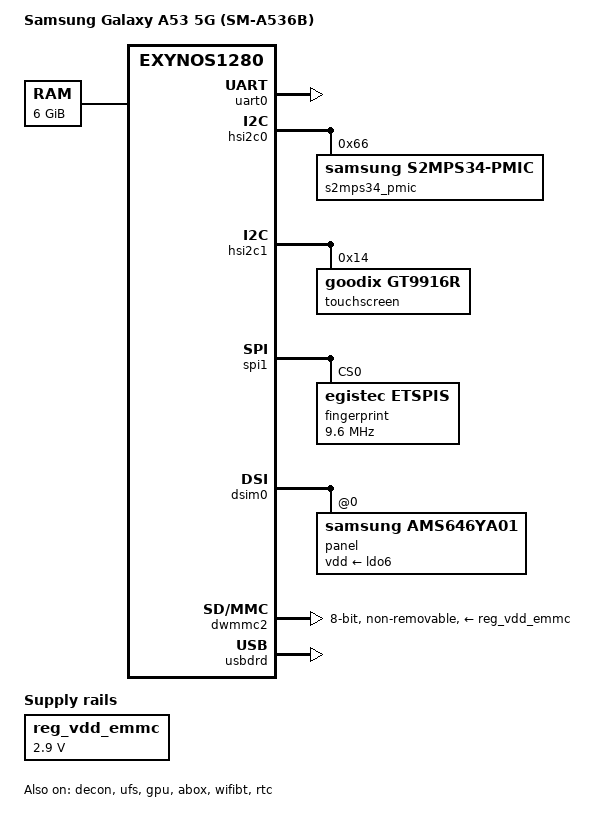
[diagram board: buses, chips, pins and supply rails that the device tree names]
// SPDX-License-Identifier: GPL-2.0
/*
 * Samsung Galaxy A53 5G (SM-A536B) Device Tree
 *
 * Board-level peripherals: PMIC (S2MPS34), touchscreen, display panel,
 * fingerprint, UFS storage, USB. Base SoC nodes come from exynos1280.dtsi
 * (transcribed from Samsung firmware A536BXXSMGZE1).
 */

/dts-v1/;

#include "exynos1280.dtsi"
#include <dt-bindings/gpio/gpio.h>
#include <dt-bindings/interrupt-controller/irq.h>

/ {
	model = "Samsung Galaxy A53 5G (SM-A536B)";
	compatible = "samsung,a53x", "samsung,exynos1280";

	chosen {
		bootargs = "androidboot.hardware=exynos1280 clk_ignore_unused firmware_class.path=/vendor/firmware loop.max_part=7";
	};

	memory@80000000 {
		device_type = "memory";
		reg = <0x0 0x80000000 0x1 0x80000000>; /* 6 GB */
	};

	/* â”€â”€ Fixed regulators â”€â”€â”€â”€â”€â”€â”€â”€â”€â”€â”€â”€â”€â”€â”€â”€â”€â”€â”€â”€â”€â”€â”€â”€â”€â”€â”€â”€â”€â”€â”€â”€â”€â”€â”€â”€â”€â”€â”€â”€â”€â”€â”€ */

	reg_vdd_emmc: regulator-vdd-emmc {
		compatible = "regulator-fixed";
		regulator-name = "vdd_emmc";
		regulator-min-microvolt = <2900000>;
		regulator-max-microvolt = <2900000>;
		regulator-always-on;
	};
};

/* â”€â”€ UART0: debug console â”€â”€â”€â”€â”€â”€â”€â”€â”€â”€â”€â”€â”€â”€â”€â”€â”€â”€â”€â”€â”€â”€â”€â”€â”€â”€â”€â”€â”€â”€â”€â”€â”€â”€â”€â”€â”€â”€â”€â”€â”€â”€â”€â”€â”€â”€ */

&uart0 {
	status = "okay";
};

/* â”€â”€ HSI2C0: PMIC (S2MPS34) â”€â”€â”€â”€â”€â”€â”€â”€â”€â”€â”€â”€â”€â”€â”€â”€â”€â”€â”€â”€â”€â”€â”€â”€â”€â”€â”€â”€â”€â”€â”€â”€â”€â”€â”€â”€â”€â”€â”€â”€â”€â”€â”€ */

&hsi2c0 {
	status = "okay";

	s2mps34_pmic: pmic@66 {
		compatible = "samsung,s2mps34-pmic";
		reg = <0x66>;
		#include "exynos1280-pmic-s2mps34.dtsi"
		/* Full regulator set (39 LDO + 9 BUCK) is provided by the
		 * included exynos1280-pmic-s2mps34.dtsi. */
	};
};

/* â”€â”€ HSI2C1: Touchscreen â”€â”€â”€â”€â”€â”€â”€â”€â”€â”€â”€â”€â”€â”€â”€â”€â”€â”€â”€â”€â”€â”€â”€â”€â”€â”€â”€â”€â”€â”€â”€â”€â”€â”€â”€â”€â”€â”€â”€â”€â”€â”€â”€â”€â”€â”€ */

&hsi2c1 {
	status = "okay";

	touchscreen@14 {
		compatible = "goodix,gt9916r";
		reg = <0x14>;
		/* GPIO/pinctrl wiring to be confirmed against board schematic. */
	};
};

/* â”€â”€ SPI1: Fingerprint â”€â”€â”€â”€â”€â”€â”€â”€â”€â”€â”€â”€â”€â”€â”€â”€â”€â”€â”€â”€â”€â”€â”€â”€â”€â”€â”€â”€â”€â”€â”€â”€â”€â”€â”€â”€â”€â”€â”€â”€â”€â”€â”€â”€â”€â”€â”€â”€ */

&spi1 {
	status = "okay";

	fingerprint@0 {
		compatible = "egistec,etspis";
		reg = <0>;
		spi-max-frequency = <9600000>;
	};
};

/* â”€â”€ Display â”€â”€â”€â”€â”€â”€â”€â”€â”€â”€â”€â”€â”€â”€â”€â”€â”€â”€â”€â”€â”€â”€â”€â”€â”€â”€â”€â”€â”€â”€â”€â”€â”€â”€â”€â”€â”€â”€â”€â”€â”€â”€â”€â”€â”€â”€â”€â”€â”€â”€â”€â”€â”€â”€â”€â”€â”€â”€â”€ */

&decon {
	status = "okay";
};

&dsim0 {
	status = "okay";

	panel@0 {
		compatible = "samsung,ams646ya01";
		reg = <0>;
		vdd-supply = <&ldo6>;
	};
};

/* â”€â”€ UFS (internal storage) â”€â”€â”€â”€â”€â”€â”€â”€â”€â”€â”€â”€â”€â”€â”€â”€â”€â”€â”€â”€â”€â”€â”€â”€â”€â”€â”€â”€â”€â”€â”€â”€â”€â”€â”€â”€â”€â”€â”€â”€â”€â”€â”€â”€ */

&ufs {
	status = "okay";
};

/* â”€â”€ eMMC (DWMMC2) â”€â”€â”€â”€â”€â”€â”€â”€â”€â”€â”€â”€â”€â”€â”€â”€â”€â”€â”€â”€â”€â”€â”€â”€â”€â”€â”€â”€â”€â”€â”€â”€â”€â”€â”€â”€â”€â”€â”€â”€â”€â”€â”€â”€â”€â”€â”€â”€â”€â”€â”€â”€ */

&dwmmc2 {
	status = "okay";
	bus-width = <8>;
	cap-mmc-highspeed;
	mmc-hs200-1_8v;
	mmc-hs400-1_8v;
	non-removable;
	vmmc-supply = <&reg_vdd_emmc>;
};

/* â”€â”€ USB â”€â”€â”€â”€â”€â”€â”€â”€â”€â”€â”€â”€â”€â”€â”€â”€â”€â”€â”€â”€â”€â”€â”€â”€â”€â”€â”€â”€â”€â”€â”€â”€â”€â”€â”€â”€â”€â”€â”€â”€â”€â”€â”€â”€â”€â”€â”€â”€â”€â”€â”€â”€â”€â”€â”€â”€â”€â”€â”€â”€â”€â”€â”€ */

&usbdrd {
	status = "okay";
};

/* â”€â”€ GPU â”€â”€â”€â”€â”€â”€â”€â”€â”€â”€â”€â”€â”€â”€â”€â”€â”€â”€â”€â”€â”€â”€â”€â”€â”€â”€â”€â”€â”€â”€â”€â”€â”€â”€â”€â”€â”€â”€â”€â”€â”€â”€â”€â”€â”€â”€â”€â”€â”€â”€â”€â”€â”€â”€â”€â”€â”€â”€â”€â”€â”€â”€â”€ */

&gpu {
	status = "okay";
};

/* â”€â”€ Audio â”€â”€â”€â”€â”€â”€â”€â”€â”€â”€â”€â”€â”€â”€â”€â”€â”€â”€â”€â”€â”€â”€â”€â”€â”€â”€â”€â”€â”€â”€â”€â”€â”€â”€â”€â”€â”€â”€â”€â”€â”€â”€â”€â”€â”€â”€â”€â”€â”€â”€â”€â”€â”€â”€â”€â”€â”€â”€â”€â”€â”€ */

&abox {
	status = "okay";
};

/* â”€â”€ WiFi/BT â”€â”€â”€â”€â”€â”€â”€â”€â”€â”€â”€â”€â”€â”€â”€â”€â”€â”€â”€â”€â”€â”€â”€â”€â”€â”€â”€â”€â”€â”€â”€â”€â”€â”€â”€â”€â”€â”€â”€â”€â”€â”€â”€â”€â”€â”€â”€â”€â”€â”€â”€â”€â”€â”€â”€â”€â”€â”€ */

&wifibt {
	status = "okay";
};

/* â”€â”€ RTC â”€â”€â”€â”€â”€â”€â”€â”€â”€â”€â”€â”€â”€â”€â”€â”€â”€â”€â”€â”€â”€â”€â”€â”€â”€â”€â”€â”€â”€â”€â”€â”€â”€â”€â”€â”€â”€â”€â”€â”€â”€â”€â”€â”€â”€â”€â”€â”€â”€â”€â”€â”€â”€â”€â”€â”€â”€â”€â”€â”€â”€â”€â”€ */

&rtc {
	status = "okay";
};
